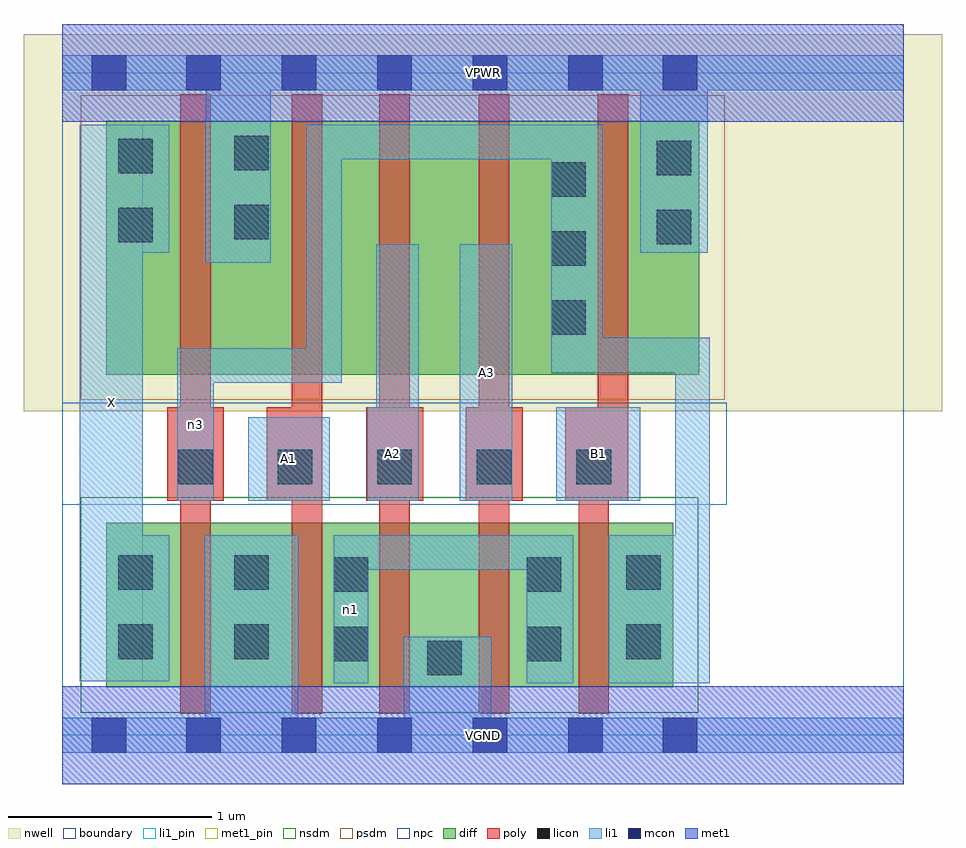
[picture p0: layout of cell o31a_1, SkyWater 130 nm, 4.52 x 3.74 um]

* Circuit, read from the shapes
.subckt o31a_1 A1 A2 A3 B1 VGND VPWR X n1 n3
XM1 VGND n3 X VSUBS sky130_fd_pr__nfet_01v8 w=0.81 l=0.15
XM2 n1 A1 VGND VSUBS sky130_fd_pr__nfet_01v8 w=0.81 l=0.15
XM3 VGND A2 n1 VSUBS sky130_fd_pr__nfet_01v8 w=0.81 l=0.15
XM4 n1 A3 VGND VSUBS sky130_fd_pr__nfet_01v8 w=0.81 l=0.15
XM5 n3 B1 n1 VSUBS sky130_fd_pr__nfet_01v8 w=0.81 l=0.15
XM6 VPWR n3 X n2 sky130_fd_pr__pfet_01v8 w=1.25 l=0.15
XM7 n4 A1 VPWR n2 sky130_fd_pr__pfet_01v8 w=1.25 l=0.15
XM8 n5 A2 n4 n2 sky130_fd_pr__pfet_01v8 w=1.25 l=0.15
XM9 n3 A3 n5 n2 sky130_fd_pr__pfet_01v8 w=1.25 l=0.15
XM10 VPWR B1 n3 n2 sky130_fd_pr__pfet_01v8 w=1.25 l=0.15
.ends

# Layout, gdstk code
import gdstk
lib = gdstk.Library(unit=1e-6, precision=1e-09)
def R(c, l, rs):  # rectangles x0, y0, x1, y1
    for r in rs: c.add(gdstk.rectangle(r[:2], r[2:], *l))
def A(c, l, x, y, w, h, nx, ny, dx, dy):  # array of equal rectangles
    R(c, l, [(x+i*dx, y+j*dy, x+i*dx+w, y+j*dy+h) for i in range(nx) for j in range(ny)])
nwell = (64, 20)
diff = (65, 20)
poly = (66, 20)
licon = (66, 44)
li1_pin = (67, 16)
li1 = (67, 20)
mcon = (67, 44)
met1_pin = (68, 16)
met1 = (68, 20)
nsdm = (93, 44)
psdm = (94, 20)
npc = (95, 20)
boundary = (235, 4)

o31a_1 = lib.new_cell('o31a_1')
R(o31a_1, nwell, [(-0.19,1.595,4.33,3.45), (0,1.595,4.14,3.45)])
R(o31a_1, diff, [(0.215,0.235,3.005,1.045), (0.215,1.775,3.135,3.025)])
R(o31a_1, poly, [(0.58,0.105,0.73,3.155), (1.13,0.105,1.28,3.155), (1.56,0.105,1.71,3.155), (2.05,0.105,2.2,3.155), (2.54,0.105,2.69,1.615), (0.515,1.155,0.795,1.615), (1.005,1.155,1.28,1.615), (1.495,1.155,1.775,1.615), (1.985,1.155,2.265,1.615), (2.475,1.155,2.785,1.615), (2.635,1.155,2.785,3.155)])
A(o31a_1, licon, 0.57, 1.235, 0.17, 0.17, 5, 1, 0.49, 0)
A(o31a_1, licon, 2.405, 1.97, 0.17, 0.17, 1, 3, 0, 0.34)
R(o31a_1, licon, [(1.795,0.295,1.965,0.465), (1.335,0.365,1.505,0.535), (2.285,0.365,2.455,0.535), (0.275,0.375,0.445,0.545), (0.845,0.375,1.015,0.545), (2.775,0.375,2.945,0.545), (1.335,0.705,1.505,0.875), (2.285,0.705,2.455,0.875), (0.275,0.715,0.445,0.885), (0.845,0.715,1.015,0.885), (2.775,0.715,2.945,0.885), (2.925,2.415,3.095,2.585), (0.275,2.425,0.445,2.595), (0.845,2.44,1.015,2.61), (2.925,2.755,3.095,2.925), (0.275,2.765,0.445,2.935), (0.845,2.78,1.015,2.95)])
R(o31a_1, li1_pin, [(0.085,0.265,0.395,3.005), (0.915,1.155,1.315,1.565), (1.5,1.155,1.755,1.615), (1.955,1.155,2.215,2.415), (2.43,1.155,2.845,1.615)])
R(o31a_1, li1, [(0,-0.085,4.14,0.085), (0.7,-0.085,1.16,0.985), (1.68,-0.085,2.11,0.485), (1.335,0.255,1.505,0.985), (2.285,0.255,2.515,0.985), (2.69,0.255,3.185,0.985), (3.015,0.255,3.185,1.955), (0.085,0.265,0.395,3.005), (0.085,0.265,0.525,0.985), (1.335,0.815,2.515,0.985), (0.565,1.155,0.745,1.905), (0.915,1.155,1.315,1.565), (1.5,1.155,1.755,1.615), (1.545,1.155,1.755,2.415), (1.955,1.155,2.215,2.415), (2.43,1.155,2.845,1.615), (0.565,1.735,1.375,1.905), (1.2,1.735,1.375,3.005), (2.405,1.785,2.66,3.005), (2.405,1.785,3.185,1.955), (0.705,2.325,1.025,3.345), (0.085,2.375,0.525,3.005), (2.845,2.375,3.175,3.345), (1.2,2.835,2.66,3.005), (0,3.175,4.14,3.345)])
A(o31a_1, mcon, 0.61, -0.085, 0.17, 0.17, 5, 2, 0.47, 3.26)
R(o31a_1, mcon, [(0.145,-0.085,0.315,0.085), (2.955,-0.085,3.125,0.085), (0.145,3.175,0.315,3.345), (2.955,3.175,3.125,3.345)])
R(o31a_1, met1_pin, [(0,-0.24,4.14,0.24), (0,3.02,4.14,3.5)])
R(o31a_1, met1, [(0,-0.24,4.14,0.24), (0,3.02,4.14,3.5)])
R(o31a_1, nsdm, [(0.09,0.11,3.13,1.17)])
R(o31a_1, psdm, [(0.09,1.65,3.26,3.15)])
R(o31a_1, npc, [(0,1.135,3.27,1.635)])
R(o31a_1, boundary, [(0,0,4.14,3.26)])
o31a_1.add(gdstk.Label('A1', (1.115,1.36), layer=67, texttype=5))
o31a_1.add(gdstk.Label('A2', (1.627,1.385), layer=67, texttype=5))
o31a_1.add(gdstk.Label('A3', (2.085,1.785), layer=67, texttype=5))
o31a_1.add(gdstk.Label('B1', (2.637,1.385), layer=67, texttype=5))
o31a_1.add(gdstk.Label('X', (0.24,1.635), layer=67, texttype=5))
o31a_1.add(gdstk.Label('n1', (1.42,0.62), layer=67, texttype=5))
o31a_1.add(gdstk.Label('n3', (0.655,1.53), layer=67, texttype=5))
o31a_1.add(gdstk.Label('VPWR', (2.07,3.26), layer=68, texttype=5))
o31a_1.add(gdstk.Label('VGND', (2.07,0), layer=68, texttype=5))
o31a_1.add(gdstk.Label('A1', (1.115,1.36), layer=67, texttype=16))
o31a_1.add(gdstk.Label('A2', (1.627,1.385), layer=67, texttype=16))
o31a_1.add(gdstk.Label('A3', (2.085,1.785), layer=67, texttype=16))
o31a_1.add(gdstk.Label('B1', (2.637,1.385), layer=67, texttype=16))
o31a_1.add(gdstk.Label('X', (0.24,1.635), layer=67, texttype=16))
o31a_1.add(gdstk.Label('VPWR', (2.07,3.26), layer=68, texttype=16))
o31a_1.add(gdstk.Label('VGND', (2.07,0), layer=68, texttype=16))

lib.write_gds('o31a_1.gds')
